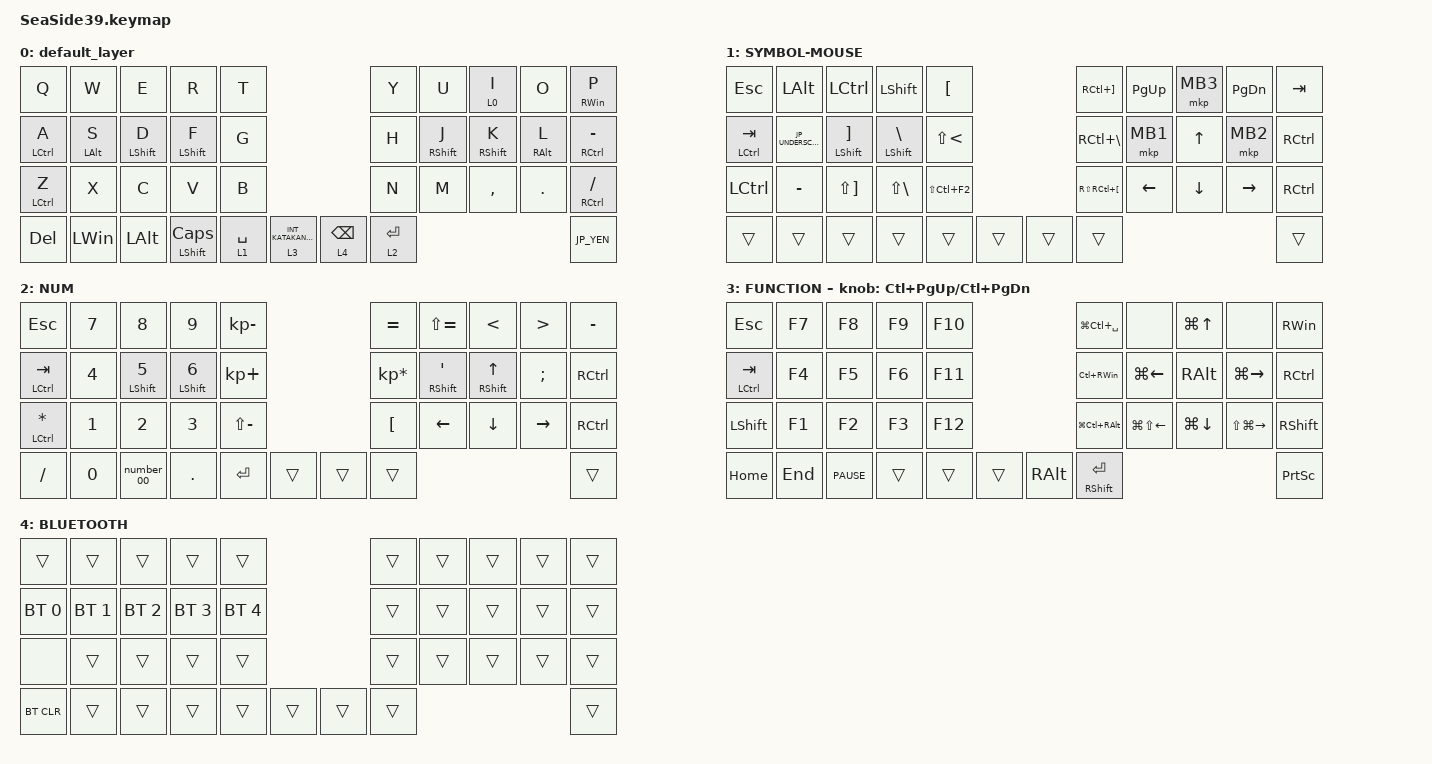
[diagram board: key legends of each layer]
#include <behaviors.dtsi>
#include <dt-bindings/zmk/bt.h>
#include <dt-bindings/zmk/keys.h>
#include <dt-bindings/zmk/pointing.h>
#include "jp_keys.dtsi"

#define MOUSE 4
#define SCROLL 5
#define NUM 6

&mt {
    flavor = "balanced";
    quick-tap-ms = <300>;
};

&lt {
    flavor = "balanced";
    quick-tap-ms = <300>;
};

/ {
    aliases {
        led-red = &led0;
        led-green = &led1;
        led-blue = &led2;
    };

    combos { compatible = "zmk,combos"; };

    macros {
        to_layer_0: to_layer_0 {
            compatible = "zmk,behavior-macro-one-param";
            #binding-cells = <1>;
            bindings = <&to 0 &macro_param_1to1 &kp MACRO_PLACEHOLDER>;
            label = "TO_LAYER_0";
        };

        number_00: number00 {
            compatible = "zmk,behavior-macro";
            #binding-cells = <0>;
            bindings = <&kp N0 &kp N0>;
            label = "NUMBER00";
        };
    };

    behaviors {
        lt_to_layer_0: lt_to_layer_0 {
            compatible = "zmk,behavior-hold-tap";
            label = "LAYER_TAP_TO_0";
            bindings = <&mo>, <&to_layer_0>;

            #binding-cells = <2>;
            tapping-term-ms = <200>;
        };
    };

    keymap {
        compatible = "zmk,keymap";

        default_layer {
            bindings = <
&kp Q               &kp W           &kp E             &kp R                &kp T                                                         &kp Y        &kp U              &lt 0 I            &kp O            &mt RIGHT_WIN P
&mt LEFT_CONTROL A  &mt LEFT_ALT S  &mt LEFT_SHIFT D  &mt LEFT_SHIFT F     &kp G                                                         &kp H        &mt RIGHT_SHIFT J  &mt RIGHT_SHIFT K  &mt RIGHT_ALT L  &mt RIGHT_CONTROL MINUS
&mt LEFT_CONTROL Z  &kp X           &kp C             &kp V                &kp B                                                         &kp N        &kp M              &kp COMMA          &kp PERIOD       &mt RIGHT_CONTROL SLASH
&kp DELETE          &kp LEFT_WIN    &kp LEFT_ALT      &mt LEFT_SHIFT CAPS  &lt 1 SPACE  &lt 3 INT_KATAKANAHIRAGANA      &lt 4 BACKSPACE  &lt 2 ENTER                                                         &kp JP_YEN
            >;
        };

        SYMBOL-MOUSE {
            bindings = <
&kp ESCAPE            &kp LEFT_ALT       &kp LEFT_CONTROL              &kp LEFT_SHIFT            &kp LEFT_BRACKET                       &kp RC(RIGHT_BRACKET)     &kp PAGE_UP     &mkp MB3      &kp PAGE_DOWN    &kp TAB
&mt LEFT_CONTROL TAB  &kp JP_UNDERSCORE  &mt LEFT_SHIFT RIGHT_BRACKET  &mt LEFT_SHIFT BACKSLASH  &kp LS(LESS_THAN)                      &kp RC(BACKSLASH)         &mkp MB1        &kp UP_ARROW  &mkp MB2         &kp RIGHT_CONTROL
&kp LEFT_CONTROL      &kp MINUS          &kp LS(RIGHT_BRACKET)         &kp LS(BACKSLASH)         &kp LS(LC(F2))                         &kp RS(RC(LEFT_BRACKET))  &kp LEFT_ARROW  &kp DOWN      &kp RIGHT_ARROW  &kp RIGHT_CONTROL
&trans                &trans             &trans                        &trans                    &trans             &trans      &trans  &trans                                                                   &trans
            >;
        };

        NUM {
            bindings = <
&kp ESCAPE                 &kp N7        &kp N8                   &kp N9                   &kp KP_MINUS                       &kp EQUAL         &kp LS(EQUAL)                 &kp LESS_THAN             &kp GREATER_THAN  &kp MINUS
&mt LEFT_CONTROL TAB       &kp NUMBER_4  &mt LEFT_SHIFT NUMBER_5  &mt LEFT_SHIFT NUMBER_6  &kp KP_PLUS                        &kp KP_ASTERISK   &mt RIGHT_SHIFT SINGLE_QUOTE  &mt RIGHT_SHIFT UP_ARROW  &kp SEMICOLON     &kp RIGHT_CONTROL
&mt LEFT_CONTROL ASTERISK  &kp NUMBER_1  &kp NUMBER_2             &kp NUMBER_3             &kp LS(MINUS)                      &kp LEFT_BRACKET  &kp LEFT_ARROW                &kp DOWN_ARROW            &kp RIGHT_ARROW   &kp RIGHT_CONTROL
&kp SLASH                  &kp NUMBER_0  &number_00               &kp PERIOD               &kp ENTER      &trans      &trans  &trans                                                                                      &trans
            >;
        };

        FUNCTION {
            bindings = <
&kp ESCAPE            &kp F7   &kp F8       &kp F9  &kp F10                             &kp LG(LC(SPACE))      &none                   &kp LG(UP_ARROW)    &none                    &kp RIGHT_WIN
&mt LEFT_CONTROL TAB  &kp F4   &kp F5       &kp F6  &kp F11                             &kp LC(RIGHT_WIN)      &kp LG(LEFT_ARROW)      &kp RIGHT_ALT       &kp LG(RIGHT_ARROW)      &kp RIGHT_CONTROL
&kp LEFT_SHIFT        &kp F1   &kp F2       &kp F3  &kp F12                             &kp LG(LC(RIGHT_ALT))  &kp LG(LS(LEFT_ARROW))  &kp LG(DOWN_ARROW)  &kp LS(LG(RIGHT_ARROW))  &kp RIGHT_SHIFT
&kp HOME              &kp END  &kp C_PAUSE  &trans  &trans   &trans      &kp RIGHT_ALT  &mt RIGHT_SHIFT ENTER                                                                       &kp PRINTSCREEN
            >;

            sensor-bindings = <&inc_dec_kp LC(PAGE_UP) LC(PAGE_DOWN)>;
        };

        BLUETOOTH {
            bindings = <
&trans        &trans        &trans        &trans        &trans                            &trans  &trans  &trans  &trans  &trans
&bt BT_SEL 0  &bt BT_SEL 1  &bt BT_SEL 2  &bt BT_SEL 3  &bt BT_SEL 4                      &trans  &trans  &trans  &trans  &trans
&none         &trans        &trans        &trans        &trans                            &trans  &trans  &trans  &trans  &trans
&bt BT_CLR    &trans        &trans        &trans        &trans        &trans      &trans  &trans                          &trans
            >;
        };
    };
};
